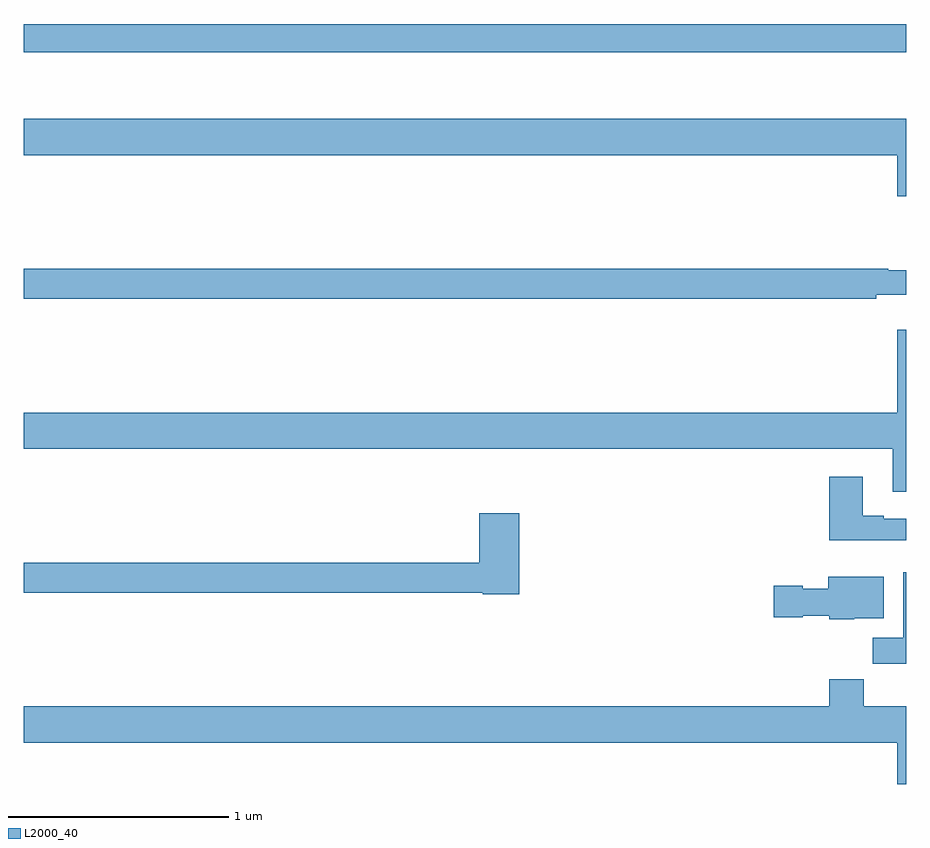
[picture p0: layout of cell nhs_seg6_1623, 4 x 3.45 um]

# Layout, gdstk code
import gdstk
lib = gdstk.Library(unit=1e-6, precision=1e-09)
def R(c, l, rs):  # rectangles x0, y0, x1, y1
    for r in rs: c.add(gdstk.rectangle(r[:2], r[2:], *l))
def P(c, l, *ps):  # polygons
    for p in ps: c.add(gdstk.Polygon(p, *l))
L2000_40 = (2000, 40)

nhs_seg6_1623 = lib.new_cell('nhs_seg6_1623')
R(nhs_seg6_1623, L2000_40, [(209,945.138,213,945.266)])
P(nhs_seg6_1623, L2000_40, [(213,944.836),(209,944.836),(209,944.672),(212.96,944.672),(212.96,944.484),(213,944.484)],
  [(212.864,944.039),(213,944.039),(213,944.149),(212.918,944.149),(212.918,944.156),(209,944.156),(209,944.02),(212.864,944.02)],
  [(213,943.879),(212.96,943.879),(212.96,943.504),(209,943.504),(209,943.34),(212.939,943.34),(212.939,943.146),(213,943.146)],
  [(213,943.023),(212.899,943.023),(212.899,943.036),(212.803,943.036),(212.803,943.213),(212.651,943.213),(212.651,942.926),(213,942.926)],
  [(211.247,943.048),(211.064,943.048),(211.064,942.824),(209,942.824),(209,942.688),(211.08,942.688),(211.08,942.68),(211.247,942.68)],
  [(213,942.781),(212.987,942.781),(212.987,942.484),(212.848,942.484),(212.848,942.366),(213,942.366)],
  [(212.766,942.572),(212.899,942.572),(212.899,942.76),(212.648,942.76),(212.648,942.706),(212.532,942.706),(212.532,942.719),(212.4,942.719),(212.4,942.577),(212.532,942.577),(212.532,942.584),(212.652,942.584),(212.652,942.566),(212.766,942.566)],
  [(213,942.172),(212.807,942.172),(212.807,942.296),(212.651,942.296),(212.651,942.172),(209,942.172),(209,942.008),(212.96,942.008),(212.96,941.82),(213,941.82)])

lib.write_gds('nhs_seg6_1623.gds')
